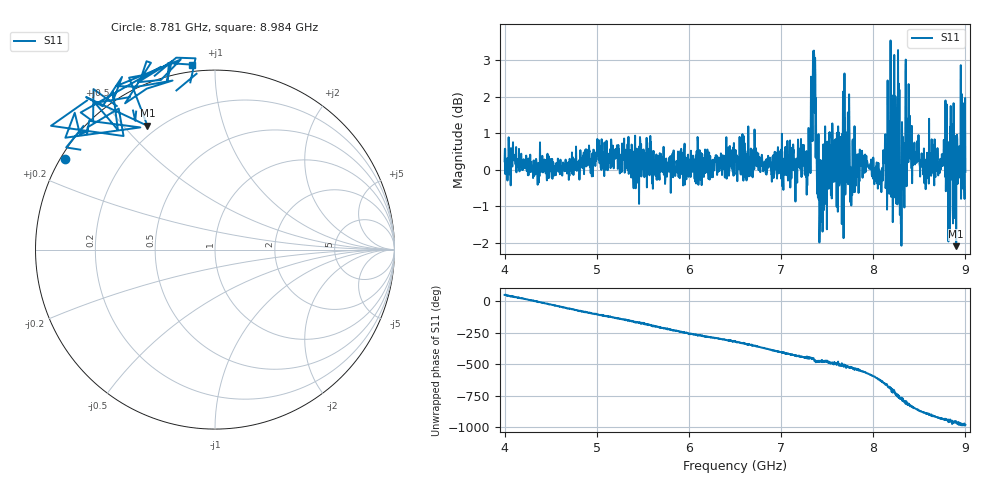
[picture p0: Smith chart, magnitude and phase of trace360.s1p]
! Created with skrf 1.8.0 (http://scikit-rf.org).
# Hz S RI R 50.0
!freq ReS11 ImS11
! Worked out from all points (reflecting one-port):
!   1601 points, 4 GHz to 9 GHz, reference 50 ohm
!   lowest |S11| = -2.1 dB at 8.9 GHz (marker M1), VSWR 8.34, Z = 8.06 + j29.1 ohm
!   phase of S11 starts at 51 deg and turns -1031 deg over the sweep
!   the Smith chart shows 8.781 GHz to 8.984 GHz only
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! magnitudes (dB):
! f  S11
! 4 GHz  0.2
! 4.625 GHz  -0.2
! 5.25 GHz  -0.1
! 5.875 GHz  -0.1
! 6.5 GHz  0.3
! 7.125 GHz  0.1
! 7.281 GHz  0.1
! 7.316 GHz  0.7
! 7.347 GHz  3.2
! 7.369 GHz  3.1
! 7.4 GHz  -0.8
! 7.428 GHz  0.3
! 7.544 GHz  0.7
! 7.75 GHz  -0.9
! 8.075 GHz  -0.1
! 8.178 GHz  1.3
! 8.228 GHz  3.1
! 8.253 GHz  1.0
! 8.312 GHz  1.3
! 8.334 GHz  0.3
! 8.375 GHz  1.1
! 8.425 GHz  0.4
! 8.556 GHz  -0.4
! 8.772 GHz  0.1
! 8.806 GHz  0.0
! 8.9 GHz  -2.1
! 8.956 GHz  -0.1
! 9 GHz  -0.1
